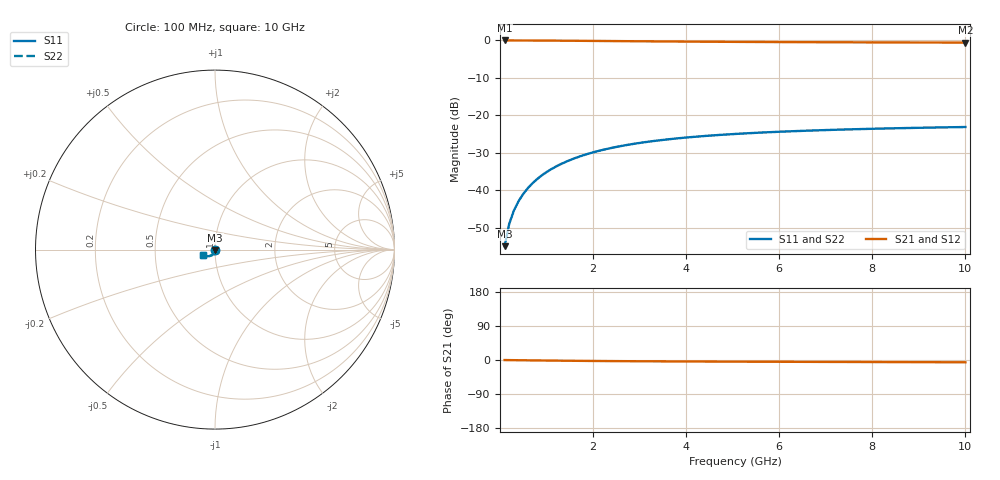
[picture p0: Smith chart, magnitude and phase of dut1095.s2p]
! Touchstone file exported from HFSS 2024.1.0
!  File:  C:/UserFiles/LocalFiles/RDL_TSV_Batchsim/temp_TSV1_1095_1780066663.aedt
!  Generated:  11:02:58 PM May 29, 2026
!  Design:  TSV1
!  Project:  temp_TSV1_1095_1780066663
!  Setup:  Setup1
!  Solution:  Sweep
! Variables:
!  dtsv = 11.85um
!  hbump = 3um
!  htsv = 94.31um
!  lrdl = 252.1521522um
!  p = 40
!  p1 = 40.93um
!  t = 500um
!  trdl = 3um
!  wrdl = 24.89489489um
# GHz S MA R 50.000000
! Terminal data exported
! Port[1] = TSV22_T1
! Port[2] = TSV22_T2
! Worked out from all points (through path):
!   100 points, 100 MHz to 10 GHz, reference 50 ohm
!   highest |S21| = 0.00 dB at 100 MHz (marker M1); lowest = -0.6 dB at 10 GHz (marker M2)
!   lowest |S11| = -54.9 dB at 100 MHz (marker M3), VSWR 1.00, Z = 50 - j0.179 ohm
!   |S11| at or under -10 dB: start of sweep to end of sweep
!   |S22| runs from -54.9 to -23.1 dB; largest |S21 - S12| = 4.3e-15
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0.1  0.00179 -87.6  0.9998 -0.1  0.9998 -0.1  0.00179 -87.6
! Gamma 0 0 0 0
! Port Impedance 50 0 50 0
0.2  0.003576 -90.8  0.9997 -0.3  0.9997 -0.3  0.003576 -90.8
0.3  0.005363 -92.8  0.9994 -0.4  0.9994 -0.4  0.005363 -92.8
0.4  0.007145 -94.5  0.9991 -0.6  0.9991 -0.6  0.007145 -94.5
0.5  0.008916 -96.1  0.9987 -0.7  0.9987 -0.7  0.008916 -96.1
0.6  0.01067 -97.7  0.9982 -0.9  0.9982 -0.9  0.01067 -97.7
0.7  0.01241 -99.2  0.9976 -1.0  0.9976 -1.0  0.01241 -99.2
0.8  0.01412 -100.7  0.997 -1.1  0.997 -1.1  0.01412 -100.7
0.9  0.0158 -102.2  0.9963 -1.3  0.9963 -1.3  0.0158 -102.2
1.1  0.01908 -105.0  0.9947 -1.5  0.9947 -1.5  0.01908 -105.0
1.4  0.02373 -109.0  0.992 -1.9  0.992 -1.9  0.02373 -109.0
1.6  0.02664 -111.6  0.99 -2.1  0.99 -2.1  0.02664 -111.6
1.8  0.0294 -114.0  0.9879 -2.3  0.9879 -2.3  0.0294 -114.0
2.1  0.03325 -117.4  0.9847 -2.6  0.9847 -2.6  0.03325 -117.4
2.5  0.03784 -121.6  0.9803 -2.9  0.9803 -2.9  0.03784 -121.6
2.9  0.04186 -125.4  0.976 -3.2  0.976 -3.2  0.04186 -125.4
3.4  0.04619 -129.5  0.971 -3.6  0.971 -3.6  0.04619 -129.5
4.2  0.05178 -135.2  0.9638 -4.0  0.9638 -4.0  0.05178 -135.2
5.1  0.05662 -140.3  0.9571 -4.4  0.9571 -4.4  0.05662 -140.3
6.7  0.0627 -147.2  0.948 -4.9  0.948 -4.9  0.0627 -147.2
8.4  0.06699 -152.7  0.9411 -5.5  0.9411 -5.5  0.06699 -152.7
10  0.06982 -156.6  0.9365 -6.0  0.9365 -6.0  0.06982 -156.6
